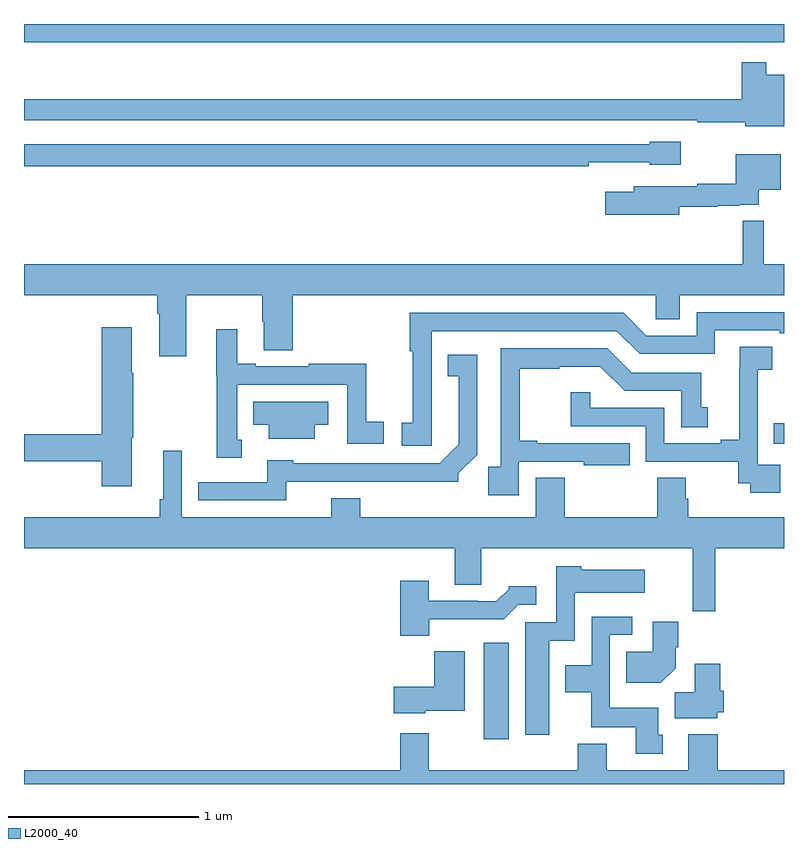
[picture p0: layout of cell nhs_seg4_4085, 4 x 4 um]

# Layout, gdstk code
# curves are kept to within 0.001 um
import gdstk
lib = gdstk.Library(unit=1e-6, precision=1e-09)
def R(c, l, rs):  # rectangles x0, y0, x1, y1
    for r in rs: c.add(gdstk.rectangle(r[:2], r[2:], *l))
def P(c, l, *ps):  # polygons
    for p in ps: c.add(gdstk.Polygon(p, *l))
L2000_40 = (2000, 40)

nhs_seg4_4085 = lib.new_cell('nhs_seg4_4085')
R(nhs_seg4_4085, L2000_40, [(329.42,809.136,329.551,809.644), (330.946,810.69,331,810.799), (327,812.804,331,812.9)])
P(nhs_seg4_4085, L2000_40, [(331,812.632),(330.907,812.632),(330.907,812.698),(330.778,812.698),(330.778,812.503),(327,812.503),(327,812.394),(330.544,812.394),(330.544,812.382),(330.797,812.382),(330.797,812.363),(331,812.363)],
  [(329.972,812.172),(330.294,812.172),(330.294,812.159),(330.457,812.159),(330.457,812.281),(330.294,812.281),(330.294,812.268),(327,812.268),(327,812.152),(329.972,812.152)],
  [(330.448,811.938),(330.65,811.938),(330.65,811.944),(330.764,811.944),(330.764,811.95),(330.868,811.95),(330.868,812.027),(330.982,812.027),(330.982,812.215),(330.746,812.215),(330.746,812.059),(330.544,812.059),(330.544,812.046),(330.209,812.046),(330.209,812.017),(330.06,812.017),(330.06,811.895),(330.448,811.895)],
  [(327.853,811.472),(328.255,811.472),(328.255,811.334),(328.262,811.334),(328.262,811.183),(328.415,811.183),(328.415,811.472),(330.324,811.472),(330.324,811.345),(330.451,811.345),(330.451,811.472),(331,811.472),(331,811.636),(330.893,811.636),(330.893,811.865),(330.784,811.865),(330.784,811.636),(327,811.636),(327,811.472),(327.701,811.472),(327.701,811.376),(327.713,811.376),(327.713,811.152),(327.853,811.152)],
  [(329.146,810.956),(329.145,811.284),(330.12,811.284),(330.24,811.164),(330.636,811.164),(330.636,811.287),(330.977,811.287),(330.977,811.272),(331,811.272),(331,811.383),(330.54,811.383),(330.54,811.26),(330.276,811.26),(330.156,811.38),(329.029,811.38),(329.029,811.177),(329.047,811.177),(329.047,810.801),(328.989,810.801),(328.989,810.681),(329.146,810.681)],
  [(327.568,810.723),(327.576,810.723),(327.576,811.064),(327.568,811.064),(327.568,811.303),(327.41,811.303),(327.41,810.74),(327,810.74),(327,810.598),(327.41,810.598),(327.41,810.468),(327.568,810.468)],
  [(328.147,810.711),(328.122,810.711),(328.122,811.002),(328.701,811.002),(328.701,810.69),(328.894,810.69),(328.894,810.806),(328.8,810.806),(328.8,811.111),(328.498,811.111),(328.498,811.098),(328.219,811.098),(328.219,811.111),(328.123,811.111),(328.123,811.294),(328.013,811.294),(328.013,811.049),(328.014,811.049),(328.014,810.617),(328.147,810.617)],
  [(330.979,810.579),(330.861,810.579),(330.861,810.883),(330.863,810.883),(330.863,811.081),(330.937,811.081),(330.937,811.202),(330.766,811.202),(330.766,811.091),(330.764,811.091),(330.764,810.713),(330.668,810.713),(330.668,810.693),(330.369,810.693),(330.369,810.879),(329.979,810.879),(329.979,810.961),(329.878,810.961),(329.878,810.783),(330.273,810.783),(330.273,810.597),(330.76,810.597),(330.76,810.483),(330.823,810.483),(330.823,810.432),(330.979,810.432)],
  [(329.604,810.597),(329.945,810.597),(329.945,810.578),(330.188,810.578),(330.188,810.693),(329.701,810.693),(329.701,810.706),(329.609,810.706),(329.609,811.086),(329.816,811.086),(329.816,811.097),(330.034,811.097),(330.162,810.969),(330.458,810.969),(330.458,810.778),(330.598,810.778),(330.598,810.882),(330.565,810.882),(330.565,811.065),(330.198,811.065),(330.069,811.194),(329.508,811.194),(329.508,810.571),(329.443,810.571),(329.443,810.42),(329.604,810.42)],
  [(328.38,810.492),(329.286,810.491),(329.286,810.535),(329.385,810.634),(329.385,811.159),(329.23,811.159),(329.23,811.046),(329.288,811.046),(329.288,810.689),(329.187,810.588),(328.416,810.588),(328.416,810.604),(328.28,810.604),(328.28,810.489),(327.916,810.489),(327.916,810.393),(328.38,810.393)],
  [(328.531,810.791),(328.6,810.791),(328.6,810.913),(328.207,810.913),(328.207,810.791),(328.289,810.791),(328.289,810.716),(328.531,810.716)],
  [(330.638,810.14),(331,810.14),(331,810.304),(330.497,810.304),(330.497,810.402),(330.484,810.402),(330.484,810.512),(330.332,810.512),(330.332,810.304),(329.846,810.304),(329.846,810.512),(329.693,810.512),(329.693,810.304),(328.769,810.304),(328.769,810.403),(328.616,810.403),(328.616,810.304),(327.831,810.304),(327.831,810.655),(327.734,810.655),(327.734,810.4),(327.715,810.4),(327.715,810.304),(327,810.304),(327,810.14),(329.267,810.14),(329.267,809.95),(329.407,809.95),(329.407,810.14),(330.52,810.14),(330.52,809.808),(330.638,809.808)],
  [(329.764,809.654),(329.898,809.654),(329.898,809.906),(330.268,809.906),(330.268,810.028),(329.934,810.028),(329.934,810.046),(329.802,810.046),(329.802,809.751),(329.639,809.751),(329.639,809.16),(329.764,809.16)],
  [(329.134,809.768),(329.525,809.768),(329.601,809.844),(329.695,809.844),(329.695,809.941),(329.55,809.941),(329.55,809.926),(329.486,809.862),(329.387,809.862),(329.387,809.865),(329.131,809.865),(329.131,809.971),(328.979,809.971),(328.979,809.681),(329.134,809.681)],
  [(330.361,809.16),(330.337,809.16),(330.337,809.302),(330.084,809.302),(330.084,809.685),(330.202,809.685),(330.202,809.781),(329.988,809.781),(329.988,809.524),(329.849,809.524),(329.849,809.384),(329.986,809.384),(329.986,809.198),(330.221,809.198),(330.221,809.058),(330.361,809.058)],
  [(330.43,809.51),(330.43,809.62),(330.443,809.62),(330.443,809.755),(330.308,809.755),(330.308,809.596),(330.169,809.596),(330.169,809.432),(330.352,809.432)],
  [(329.112,809.285),(329.32,809.285),(329.32,809.599),(329.158,809.599),(329.158,809.413),(328.946,809.413),(328.946,809.273),(329.112,809.273)],
  [(330.648,809.277),(330.683,809.277),(330.683,809.391),(330.665,809.391),(330.665,809.533),(330.53,809.533),(330.53,809.384),(330.425,809.384),(330.425,809.246),(330.648,809.246)],
  [(331,808.972),(330.65,808.972),(330.65,809.161),(330.497,809.161),(330.497,808.972),(330.067,808.972),(330.067,809.113),(329.915,809.113),(329.915,808.972),(329.131,808.972),(329.131,809.167),(328.979,809.167),(328.979,808.972),(327,808.972),(327,808.9),(331,808.9)])

lib.write_gds('nhs_seg4_4085.gds')
